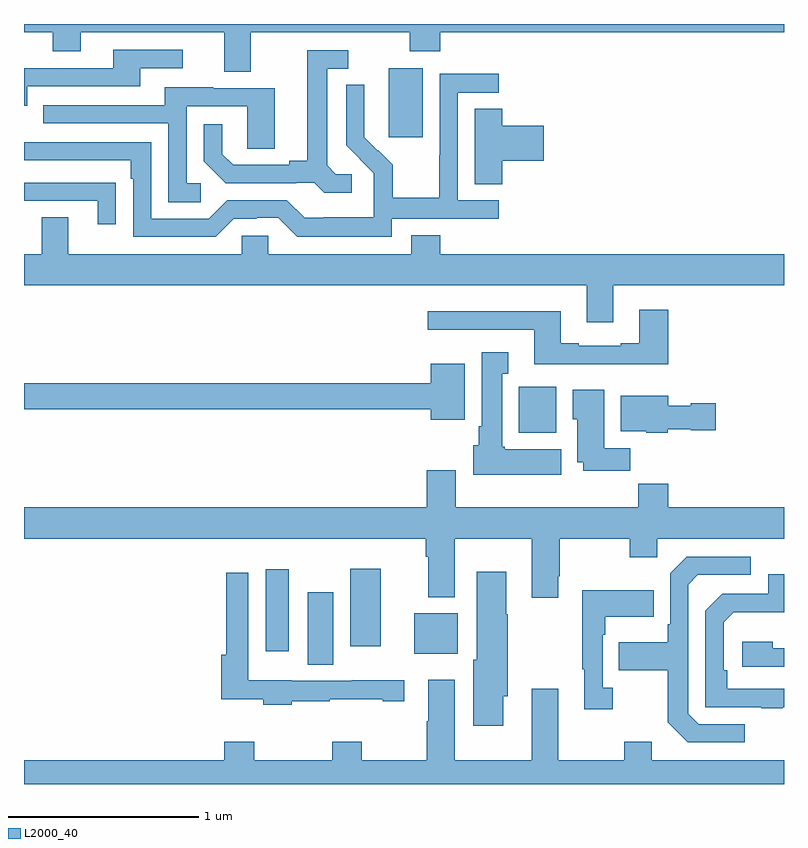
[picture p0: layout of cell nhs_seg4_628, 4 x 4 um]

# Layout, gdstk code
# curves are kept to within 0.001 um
import gdstk
lib = gdstk.Library(unit=1e-6, precision=1e-09)
def R(c, l, rs):  # rectangles x0, y0, x1, y1
    for r in rs: c.add(gdstk.rectangle(r[:2], r[2:], *l))
def P(c, l, *ps):  # polygons
    for p in ps: c.add(gdstk.Polygon(p, *l))
L2000_40 = (2000, 40)

nhs_seg4_628 = lib.new_cell('nhs_seg4_628')
R(nhs_seg4_628, L2000_40, [(144.494,757.528,144.628,757.909), (145.055,757.586,145.282,757.798), (144.272,757.599,144.394,758.029), (144.716,757.626,144.877,758.032), (145.604,758.75,145.801,758.992), (144.92,760.305,145.099,760.666)])
P(nhs_seg4_628, L2000_40, [(144.193,760.856),(145.03,760.856),(145.03,760.757),(145.19,760.757),(145.19,760.856),(147,760.856),(147,760.9),(143,760.9),(143,760.856),(143.152,760.856),(143.152,760.757),(143.299,760.757),(143.299,760.856),(144.053,760.856),(144.053,760.648),(144.193,760.648)],
  [(143.016,760.572),(143.611,760.572),(143.611,760.668),(143.836,760.668),(143.836,760.764),(143.471,760.764),(143.471,760.668),(143,760.668),(143,760.469),(143.016,760.469)],
  [(144.724,760.11),(144.642,760.11),(144.595,760.157),(144.595,760.665),(144.706,760.665),(144.706,760.761),(144.491,760.761),(144.491,760.181),(144.395,760.181),(144.395,760.158),(144.1,760.158),(144.043,760.215),(144.043,760.372),(143.946,760.372),(143.946,760.178),(144.062,760.062),(144.434,760.062),(144.434,760.065),(144.528,760.065),(144.58,760.013),(144.724,760.013)],
  [(144.936,759.876),(145.498,759.876),(145.498,759.972),(145.284,759.972),(145.284,760.539),(145.498,760.539),(145.498,760.638),(145.188,760.638),(145.188,760.208),(145.186,760.208),(145.186,759.985),(144.941,759.985),(144.941,760.159),(144.864,760.236),(144.861,760.233),(144.791,760.304),(144.792,760.58),(144.696,760.58),(144.696,760.262),(144.842,760.114),(144.842,760.017),(144.84,760.017),(144.84,759.883),(144.577,759.883),(144.577,759.879),(144.477,759.879),(144.384,759.972),(144.069,759.972),(143.973,759.876),(143.67,759.876),(143.67,760.278),(143,760.278),(143,760.182),(143.561,760.182),(143.561,760.085),(143.574,760.085),(143.574,759.78),(144.009,759.78),(144.105,759.876),(144.224,759.876),(144.224,759.879),(144.339,759.879),(144.439,759.779),(144.936,759.779)],
  [(143.929,760.062),(143.856,760.062),(143.856,760.467),(144.174,760.467),(144.174,760.243),(144.319,760.243),(144.319,760.563),(143.995,760.563),(143.995,760.567),(143.741,760.567),(143.741,760.473),(143.101,760.473),(143.101,760.377),(143.76,760.377),(143.76,759.961),(143.929,759.961)],
  [(145.517,760.181),(145.735,760.181),(145.735,760.364),(145.517,760.364),(145.517,760.454),(145.373,760.454),(145.373,760.057),(145.517,760.057)],
  [(143.483,760.064),(143.381,760.064),(143.381,760.065),(143,760.065),(143,759.969),(143.387,759.969),(143.387,759.846),(143.483,759.846)],
  [(146.101,759.524),(147,759.524),(147,759.688),(145.19,759.688),(145.19,759.787),(145.037,759.787),(145.037,759.688),(144.285,759.688),(144.285,759.786),(144.147,759.786),(144.147,759.688),(143.233,759.688),(143.233,759.883),(143.093,759.883),(143.093,759.688),(143,759.688),(143,759.524),(145.961,759.524),(145.961,759.33),(146.101,759.33)],
  [(146.39,759.397),(146.237,759.397),(146.237,759.22),(146.141,759.22),(146.141,759.207),(145.921,759.207),(145.921,759.22),(145.825,759.22),(145.825,759.388),(145.125,759.388),(145.125,759.291),(145.685,759.291),(145.685,759.11),(146.39,759.11)],
  [(145.828,758.662),(145.53,758.662),(145.53,758.676),(145.516,758.676),(145.516,759.059),(145.549,759.059),(145.549,759.172),(145.409,759.172),(145.409,758.782),(145.394,758.782),(145.394,758.682),(145.364,758.682),(145.364,758.528),(145.828,758.528)],
  [(145.321,759.112),(145.142,759.112),(145.142,759.008),(143,759.008),(143,758.872),(145.142,758.872),(145.142,758.816),(145.321,758.816)],
  [(146.192,758.668),(146.053,758.668),(146.053,758.974),(145.889,758.974),(145.889,758.82),(145.913,758.82),(145.913,758.594),(145.943,758.594),(145.943,758.55),(146.192,758.55)],
  [(146.388,758.768),(146.508,758.768),(146.508,758.761),(146.641,758.761),(146.641,758.903),(146.508,758.903),(146.508,758.89),(146.392,758.89),(146.392,758.944),(146.141,758.944),(146.141,758.756),(146.274,758.756),(146.274,758.75),(146.388,758.75)],
  [(145.813,757.993),(145.821,757.993),(145.821,758.192),(146.188,758.192),(146.188,758.093),(146.334,758.093),(146.334,758.192),(147,758.192),(147,758.356),(146.39,758.356),(146.39,758.48),(146.233,758.48),(146.233,758.356),(145.273,758.356),(145.273,758.551),(145.121,758.551),(145.121,758.356),(143,758.356),(143,758.192),(145.115,758.192),(145.115,758.096),(145.127,758.096),(145.127,757.883),(145.267,757.883),(145.267,758.192),(145.673,758.192),(145.673,757.881),(145.813,757.881)],
  [(146.794,757.215),(146.55,757.215),(146.496,757.269),(146.496,757.95),(146.547,758.001),(146.824,758.001),(146.824,758.097),(146.487,758.097),(146.4,758.01),(146.4,757.741),(146.388,757.741),(146.388,757.645),(146.131,757.645),(146.131,757.498),(146.388,757.498),(146.388,757.225),(146.493,757.119),(146.794,757.119)],
  [(145.522,757.362),(145.545,757.362),(145.545,757.793),(145.537,757.793),(145.537,758.017),(145.382,758.017),(145.382,757.554),(145.364,757.554),(145.364,757.206),(145.522,757.206)],
  [(144.408,757.335),(144.608,757.335),(144.608,757.345),(144.887,757.345),(144.887,757.335),(145,757.335),(145,757.445),(144.724,757.445),(144.724,757.443),(144.408,757.443),(144.408,757.447),(144.18,757.447),(144.18,758.011),(144.064,758.011),(144.064,757.579),(144.038,757.579),(144.038,757.346),(144.258,757.346),(144.258,757.318),(144.408,757.318)],
  [(146.993,757.305),(147,757.305),(147,757.401),(146.702,757.401),(146.702,757.498),(146.682,757.498),(146.682,757.752),(146.735,757.805),(147,757.805),(147,758.004),(146.916,758.004),(146.916,757.902),(146.676,757.902),(146.586,757.812),(146.586,757.305),(146.881,757.305),(146.881,757.3),(146.993,757.3)],
  [(146.098,757.406),(146.046,757.406),(146.046,757.685),(146.059,757.685),(146.059,757.781),(146.315,757.781),(146.315,757.921),(145.938,757.921),(145.938,757.505),(145.949,757.505),(145.949,757.293),(146.098,757.293)],
  [(147,757.614),(146.942,757.614),(146.942,757.648),(146.781,757.648),(146.781,757.518),(147,757.518)],
  [(147,757.024),(146.305,757.024),(146.305,757.123),(146.158,757.123),(146.158,757.024),(145.813,757.024),(145.813,757.402),(145.673,757.402),(145.673,757.024),(145.267,757.024),(145.267,757.45),(145.127,757.45),(145.127,757.229),(145.12,757.229),(145.12,757.024),(144.777,757.024),(144.777,757.123),(144.622,757.123),(144.622,757.024),(144.213,757.024),(144.213,757.123),(144.053,757.123),(144.053,757.024),(143,757.024),(143,756.9),(147,756.9)])

lib.write_gds('nhs_seg4_628.gds')
